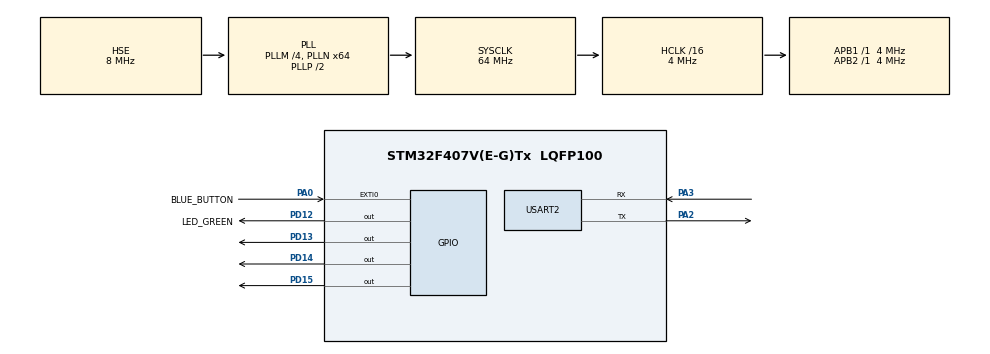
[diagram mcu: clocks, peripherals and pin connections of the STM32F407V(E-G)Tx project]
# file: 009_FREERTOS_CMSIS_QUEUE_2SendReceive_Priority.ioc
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FREERTOS.Queues01=Queue1,8,uint8_t,0,Dynamic,NULL,NULL
FREERTOS.Tasks01=Sender1,24,256,StartSender1,Default,NULL,Dynamic,NULL,NULL;Receiver,32,256,StartReceiver,Default,NULL,Dynamic,NULL,NULL;Sender2,24,256,StartSender2,Default,NULL,Dynamic,NULL,NULL
FREERTOS.configUSE_NEWLIB_REENTRANT=1
Mcu.Family=STM32F4
Mcu.Name=STM32F407V(E-G)Tx
Mcu.Package=LQFP100
NVIC.EXTI0_IRQn=true\:5\:0\:false\:false\:true\:true\:true\:true\:true
NVIC.PriorityGroup=NVIC_PRIORITYGROUP_4
NVIC.TIM8_TRG_COM_TIM14_IRQn=true\:15\:0\:false\:false\:true\:false\:false\:true\:true
NVIC.TimeBase=TIM8_TRG_COM_TIM14_IRQn
NVIC.TimeBaseIP=TIM14
NVIC.USART2_IRQn=true\:5\:0\:false\:false\:true\:true\:true\:true\:true
PA0-WKUP.GPIO_Label=BLUE_BUTTON
PA0-WKUP.Signal=GPXTI0
PA13.Mode=Trace_Asynchronous_SW
PA13.Signal=SYS_JTMS-SWDIO
PA14.Mode=Trace_Asynchronous_SW
PA14.Signal=SYS_JTCK-SWCLK
PA2.Mode=Asynchronous
PA2.Signal=USART2_TX
PA3.Mode=Asynchronous
PA3.Signal=USART2_RX
PB3.Mode=Trace_Asynchronous_SW
PB3.Signal=SYS_JTDO-SWO
PD12.GPIO_Label=LED_GREEN
PD12.Signal=GPIO_Output
PD13.Signal=GPIO_Output
PD14.Signal=GPIO_Output
PD15.Signal=GPIO_Output
PH0-OSC_IN.Mode=HSE-External-Oscillator
PH0-OSC_IN.Signal=RCC_OSC_IN
PH1-OSC_OUT.Mode=HSE-External-Oscillator
PH1-OSC_OUT.Signal=RCC_OSC_OUT
ProjectManager.HeapSize=0x200
ProjectManager.StackSize=0x400
ProjectManager.TargetToolchain=STM32CubeIDE
RCC.48MHZClocksFreq_Value=18285714.285714287
RCC.AHBCLKDivider=RCC_SYSCLK_DIV16
RCC.AHBFreq_Value=4000000
RCC.APB1Freq_Value=4000000
RCC.APB1TimFreq_Value=4000000
RCC.APB2Freq_Value=4000000
RCC.APB2TimFreq_Value=4000000
RCC.CortexFreq_Value=4000000
RCC.HCLKFreq_Value=4000000
RCC.HSE_VALUE=8000000
RCC.HSI_VALUE=16000000
RCC.LSE_VALUE=32768
RCC.PLLM=4
RCC.PLLN=64
RCC.PLLQ=7
RCC.PLLSourceVirtual=RCC_PLLSOURCE_HSE
RCC.SYSCLKFreq_VALUE=64000000
RCC.SYSCLKSource=RCC_SYSCLKSOURCE_PLLCLK
RCC.VCOOutputFreq_Value=128000000
USART2.VirtualMode=VM_ASYNC
VP_FREERTOS_VS_CMSIS_V2.Mode=CMSIS_V2
VP_SYS_VS_tim14.Mode=TIM14
board=STM32F407G-DISC1

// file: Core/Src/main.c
/* USER CODE BEGIN Header */
/**
  ******************************************************************************
  * @file           : main.c
  * @brief          : Main program body
  ******************************************************************************
  * @attention
  *
  * Copyright (c) 2023 STMicroelectronics.
  * All rights reserved.
  *
  * This software is licensed under terms that can be found in the LICENSE file
  * in the root directory of this software component.
  * If no LICENSE file comes with this software, it is provided AS-IS.
  *
  ******************************************************************************
  */
/* USER CODE END Header */
#include "main.h"
#include "cmsis_os.h"

UART_HandleTypeDef huart2;

/* Definitions for Sender1 */
osThreadId_t Sender1Handle;
const osThreadAttr_t Sender1_attributes = {
  .name = "Sender1",
  .stack_size = 256 * 4,
  .priority = (osPriority_t) osPriorityNormal,
};
/* Definitions for Receiver */
osThreadId_t ReceiverHandle;
const osThreadAttr_t Receiver_attributes = {
  .name = "Receiver",
  .stack_size = 256 * 4,
  .priority = (osPriority_t) osPriorityAboveNormal,
};
/* Definitions for Sender2 */
osThreadId_t Sender2Handle;
const osThreadAttr_t Sender2_attributes = {
  .name = "Sender2",
  .stack_size = 256 * 4,
  .priority = (osPriority_t) osPriorityNormal,
};
/* Definitions for Queue1 */
osMessageQueueId_t Queue1Handle;
const osMessageQueueAttr_t Queue1_attributes = {
  .name = "Queue1"
};

void SystemClock_Config(void);
static void MX_GPIO_Init(void);
static void MX_USART2_UART_Init(void);
void StartSender1(void *argument);
void StartReceiver(void *argument);
void StartSender2(void *argument);

int main(void)
{

  /* MCU Configuration--------------------------------------------------------*/

  /* Reset of all peripherals, Initializes the Flash interface and the Systick. */
  HAL_Init();

  /* Configure the system clock */
  SystemClock_Config();

  /* Initialize all configured peripherals */
  MX_GPIO_Init();
  MX_USART2_UART_Init();

  /* Init scheduler */
  osKernelInitialize();

  /* Create the queue(s) */
  /* creation of Queue1 */
  Queue1Handle = osMessageQueueNew (8, sizeof(uint8_t), &Queue1_attributes);

  /* Create the thread(s) */
  /* creation of Sender1 */
  Sender1Handle = osThreadNew(StartSender1, NULL, &Sender1_attributes);

  /* creation of Receiver */
  ReceiverHandle = osThreadNew(StartReceiver, NULL, &Receiver_attributes);

  /* creation of Sender2 */
  Sender2Handle = osThreadNew(StartSender2, NULL, &Sender2_attributes);

  /* Start scheduler */
  osKernelStart();
  /* We should never get here as control is now taken by the scheduler */
  /* Infinite loop */
  while (1)
  {

  }
}

void SystemClock_Config(void)
{
  RCC_OscInitTypeDef RCC_OscInitStruct = {0};
  RCC_ClkInitTypeDef RCC_ClkInitStruct = {0};

  /** Configure the main internal regulator output voltage
  */
  __HAL_RCC_PWR_CLK_ENABLE();
  __HAL_PWR_VOLTAGESCALING_CONFIG(PWR_REGULATOR_VOLTAGE_SCALE1);

  /** Initializes the RCC Oscillators according to the specified parameters
  * in the RCC_OscInitTypeDef structure.
  */
  RCC_OscInitStruct.OscillatorType = RCC_OSCILLATORTYPE_HSE;
  RCC_OscInitStruct.HSEState = RCC_HSE_ON;
  RCC_OscInitStruct.PLL.PLLState = RCC_PLL_ON;
  RCC_OscInitStruct.PLL.PLLSource = RCC_PLLSOURCE_HSE;
  RCC_OscInitStruct.PLL.PLLM = 4;
  RCC_OscInitStruct.PLL.PLLN = 64;
  RCC_OscInitStruct.PLL.PLLP = RCC_PLLP_DIV2;
  RCC_OscInitStruct.PLL.PLLQ = 7;
  if (HAL_RCC_OscConfig(&RCC_OscInitStruct) != HAL_OK)
  {
    Error_Handler();
  }

  /** Initializes the CPU, AHB and APB buses clocks
  */
  RCC_ClkInitStruct.ClockType = RCC_CLOCKTYPE_HCLK|RCC_CLOCKTYPE_SYSCLK
                              |RCC_CLOCKTYPE_PCLK1|RCC_CLOCKTYPE_PCLK2;
  RCC_ClkInitStruct.SYSCLKSource = RCC_SYSCLKSOURCE_PLLCLK;
  RCC_ClkInitStruct.AHBCLKDivider = RCC_SYSCLK_DIV16;
  RCC_ClkInitStruct.APB1CLKDivider = RCC_HCLK_DIV1;
  RCC_ClkInitStruct.APB2CLKDivider = RCC_HCLK_DIV1;

  if (HAL_RCC_ClockConfig(&RCC_ClkInitStruct, FLASH_LATENCY_0) != HAL_OK)
  {
    Error_Handler();
  }
}

static void MX_USART2_UART_Init(void)
{

  huart2.Instance = USART2;
  huart2.Init.BaudRate = 115200;
  huart2.Init.WordLength = UART_WORDLENGTH_8B;
  huart2.Init.StopBits = UART_STOPBITS_1;
  huart2.Init.Parity = UART_PARITY_NONE;
  huart2.Init.Mode = UART_MODE_TX_RX;
  huart2.Init.HwFlowCtl = UART_HWCONTROL_NONE;
  huart2.Init.OverSampling = UART_OVERSAMPLING_16;
  if (HAL_UART_Init(&huart2) != HAL_OK)
  {
    Error_Handler();
  }

}

static void MX_GPIO_Init(void)
{
  GPIO_InitTypeDef GPIO_InitStruct = {0};

  /* GPIO Ports Clock Enable */
  __HAL_RCC_GPIOH_CLK_ENABLE();
  __HAL_RCC_GPIOA_CLK_ENABLE();
  __HAL_RCC_GPIOD_CLK_ENABLE();
  __HAL_RCC_GPIOB_CLK_ENABLE();

  /*Configure GPIO pin Output Level */
  HAL_GPIO_WritePin(GPIOD, LED_GREEN_Pin|GPIO_PIN_13|GPIO_PIN_14|GPIO_PIN_15, GPIO_PIN_RESET);

  /*Configure GPIO pin : BLUE_BUTTON_Pin */
  GPIO_InitStruct.Pin = BLUE_BUTTON_Pin;
  GPIO_InitStruct.Mode = GPIO_MODE_IT_RISING;
  GPIO_InitStruct.Pull = GPIO_NOPULL;
  HAL_GPIO_Init(BLUE_BUTTON_GPIO_Port, &GPIO_InitStruct);

  /*Configure GPIO pins : LED_GREEN_Pin PD13 PD14 PD15 */
  GPIO_InitStruct.Pin = LED_GREEN_Pin|GPIO_PIN_13|GPIO_PIN_14|GPIO_PIN_15;
  GPIO_InitStruct.Mode = GPIO_MODE_OUTPUT_PP;
  GPIO_InitStruct.Pull = GPIO_NOPULL;
  GPIO_InitStruct.Speed = GPIO_SPEED_FREQ_LOW;
  HAL_GPIO_Init(GPIOD, &GPIO_InitStruct);

  /* EXTI interrupt init*/
  HAL_NVIC_SetPriority(EXTI0_IRQn, 5, 0);
  HAL_NVIC_EnableIRQ(EXTI0_IRQn);

}

/* USER CODE BEGIN 4 */
void Task_action(char message)
{
	ITM_SendChar(message);
	ITM_SendChar('\n');
}
/* USER CODE END 4 */

void StartSender1(void *argument)
{
  /* USER CODE BEGIN 5 */
  uint8_t x = 1;
  /* Infinite loop */
  for(;;)
  {
	  Task_action('s');
	  osMessageQueuePut(Queue1Handle, &x, 0, 200);
	  osDelay(2000);
  }
  /* USER CODE END 5 */
}

void StartReceiver(void *argument)
{
  /* USER CODE BEGIN StartReceiver */
  uint8_t res = 0;
  /* Infinite loop */
  for(;;)
  {
	  Task_action('R');
	  if(osMessageQueueGet(Queue1Handle, &res, NULL, 4000) == osOK)
		  Task_action(res + 48);
	  osDelay(2000);
  }
  /* USER CODE END StartReceiver */
}

void StartSender2(void *argument)
{
  /* USER CODE BEGIN StartSender2 */
  uint8_t x = 2;
  /* Infinite loop */
  for(;;)
  {
	  Task_action('S');
	  osMessageQueuePut(Queue1Handle, &x, 0, 200);
	  osDelay(2000);
  }
  /* USER CODE END StartSender2 */
}

void HAL_TIM_PeriodElapsedCallback(TIM_HandleTypeDef *htim)
{
  if (htim->Instance == TIM14) {
    HAL_IncTick();
  }
}

void Error_Handler(void)
{
  __disable_irq();
  while (1)
  {
  }
}
